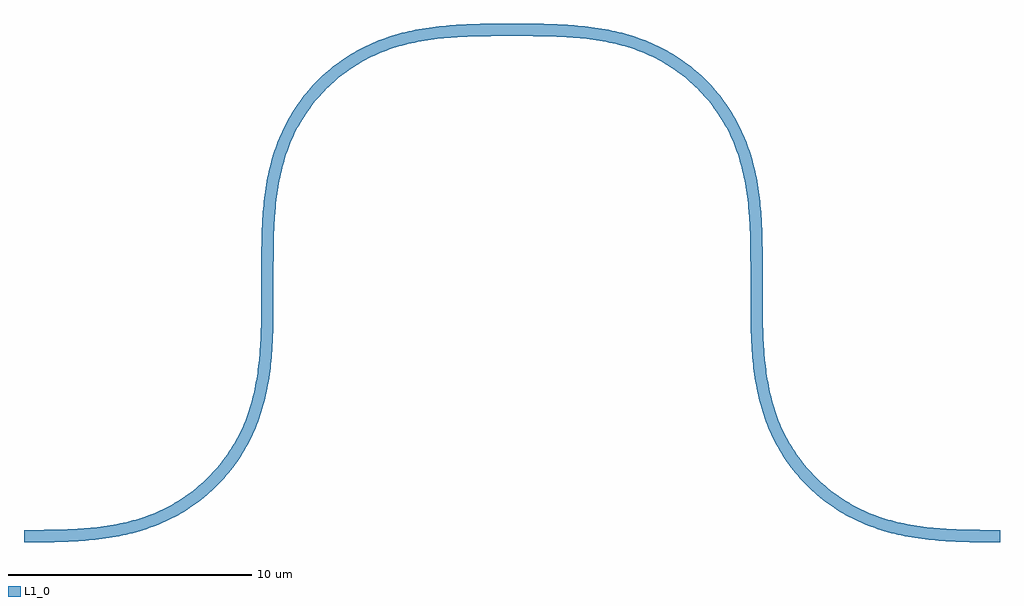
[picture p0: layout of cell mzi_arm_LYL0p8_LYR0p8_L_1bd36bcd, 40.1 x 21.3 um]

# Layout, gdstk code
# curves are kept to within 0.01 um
from math import pi, radians
import gdstk
lib = gdstk.Library(unit=1e-6, precision=1e-09)
def R(c, l, rs):  # rectangles x0, y0, x1, y1
    for r in rs: c.add(gdstk.rectangle(r[:2], r[2:], *l))
def P(c, l, *ps):  # polygons
    for p in ps: c.add(gdstk.Polygon(p, *l))
L1_0 = (1, 0)

bend_euler_rnone_a90_p0_ = lib.new_cell('bend_euler_RNone_A90_P0_d7c3a5a9')
P(bend_euler_rnone_a90_p0_, L1_0, [(0,-0.25),(0,0.25),(1.655,0.269),(2.338,0.305),(2.881,0.353),(3.42,0.424),(3.952,0.52),(4.477,0.647),(4.99,0.806),(5.365,0.949),(5.731,1.113),(6.087,1.299),(6.431,1.505),(6.762,1.731),(7.079,1.976),(7.575,2.425),(8.024,2.921),(8.269,3.238),(8.495,3.569),(8.701,3.913),(8.887,4.269),(9.051,4.635),(9.194,5.01),(9.353,5.523),(9.48,6.048),(9.576,6.58),(9.647,7.119),(9.695,7.662),(9.731,8.345),(9.75,10),(10.25,10),(10.235,8.468),(10.203,7.767),(10.158,7.205),(10.091,6.644),(10.023,6.224),(9.907,5.668),(9.797,5.254),(9.618,4.711),(9.457,4.312),(9.273,3.922),(9.066,3.545),(8.756,3.061),(8.5,2.715),(8.224,2.385),(7.928,2.072),(7.615,1.776),(7.285,1.5),(6.939,1.244),(6.455,0.934),(6.078,0.727),(5.688,0.543),(5.289,0.382),(4.746,0.203),(4.332,0.093),(3.776,-0.023),(3.356,-0.091),(2.795,-0.158),(2.233,-0.203),(1.532,-0.235)])

straight_l0p8_n2_csstrip = lib.new_cell('straight_L0p8_N2_CSstrip_WNone')
R(straight_l0p8_n2_csstrip, L1_0, [(0,-0.25,0.8,0.25)])

straight_l0p1_n2_csstrip = lib.new_cell('straight_L0p1_N2_CSstrip_WNone')
R(straight_l0p1_n2_csstrip, L1_0, [(0,-0.25,0.1,0.25)])

mzi_arm_lyl0p8_lyr0p8_l_ = lib.new_cell('mzi_arm_LYL0p8_LYR0p8_L_1bd36bcd')
mzi_arm_lyl0p8_lyr0p8_l_.add(gdstk.Reference(bend_euler_rnone_a90_p0_, (0,0)))
mzi_arm_lyl0p8_lyr0p8_l_.add(gdstk.Reference(straight_l0p8_n2_csstrip, (10,10), rotation=pi/2))
mzi_arm_lyl0p8_lyr0p8_l_.add(gdstk.Reference(bend_euler_rnone_a90_p0_, (20,20.8), rotation=pi))
mzi_arm_lyl0p8_lyr0p8_l_.add(gdstk.Reference(straight_l0p1_n2_csstrip, (20,20.8)))
mzi_arm_lyl0p8_lyr0p8_l_.add(gdstk.Reference(bend_euler_rnone_a90_p0_, (30.1,10.8), rotation=pi/2))
mzi_arm_lyl0p8_lyr0p8_l_.add(gdstk.Reference(straight_l0p8_n2_csstrip, (30.1,10.8), rotation=3*pi/2))
mzi_arm_lyl0p8_lyr0p8_l_.add(gdstk.Reference(bend_euler_rnone_a90_p0_, (30.1,10), rotation=3*pi/2))

lib.write_gds('mzi_arm_LYL0p8_LYR0p8_L_1bd36bcd.gds')
